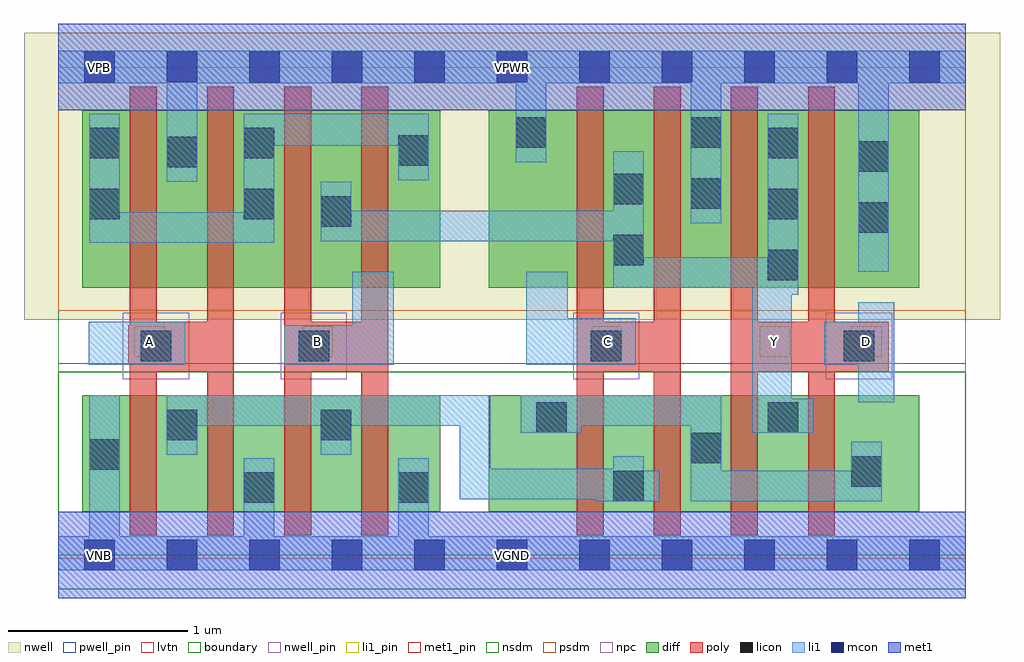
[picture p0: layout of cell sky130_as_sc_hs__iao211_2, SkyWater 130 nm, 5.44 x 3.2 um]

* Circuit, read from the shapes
.subckt sky130_as_sc_hs__iao211_2 A B C D VGND VNB VPB VPWR Y
XM1 n1 A VGND VNB sky130_fd_pr__nfet_01v8_lvt w=0.65 l=0.15 m=2
XM2 n1 B VGND VNB sky130_fd_pr__nfet_01v8_lvt w=0.65 l=0.15 m=2
XM3 n1 C n2 VNB sky130_fd_pr__nfet_01v8_lvt w=0.65 l=0.15 m=2
XM4 Y D n2 VNB sky130_fd_pr__nfet_01v8_lvt w=0.65 l=0.15 m=2
XM5 VPWR A n3 VPB sky130_fd_pr__pfet_01v8 w=0.99 l=0.15 m=2
XM6 Y B n3 VPB sky130_fd_pr__pfet_01v8 w=0.99 l=0.15 m=2
XM7 Y C VPWR VPB sky130_fd_pr__pfet_01v8 w=0.99 l=0.15 m=2
XM8 Y D VPWR VPB sky130_fd_pr__pfet_01v8 w=0.99 l=0.15 m=2
.ends

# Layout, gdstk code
import gdstk
lib = gdstk.Library(unit=1e-6, precision=1e-09)
def R(c, l, rs):  # rectangles x0, y0, x1, y1
    for r in rs: c.add(gdstk.rectangle(r[:2], r[2:], *l))
def A(c, l, x, y, w, h, nx, ny, dx, dy):  # array of equal rectangles
    R(c, l, [(x+i*dx, y+j*dy, x+i*dx+w, y+j*dy+h) for i in range(nx) for j in range(ny)])
nwell_pin = (64, 16)
nwell = (64, 20)
diff = (65, 20)
poly = (66, 20)
licon = (66, 44)
li1_pin = (67, 16)
li1 = (67, 20)
mcon = (67, 44)
met1_pin = (68, 16)
met1 = (68, 20)
nsdm = (93, 44)
psdm = (94, 20)
npc = (95, 20)
pwell_pin = (122, 16)
lvtn = (125, 44)
boundary = (235, 4)

sky130_as_sc_hs__iao211_ = lib.new_cell('sky130_as_sc_hs__iao211_2')
R(sky130_as_sc_hs__iao211_, nwell_pin, [(0.145,2.635,0.315,2.805)])
R(sky130_as_sc_hs__iao211_, nwell, [(-0.19,1.31,5.25,2.91)])
R(sky130_as_sc_hs__iao211_, diff, [(0.135,0.24,2.13,0.89), (2.405,0.24,4.8,0.245), (2.4,0.245,4.8,0.89), (0.135,1.49,2.13,2.48), (2.4,1.49,4.8,2.48)])
A(sky130_as_sc_hs__iao211_, poly, 0.4, 0.11, 0.15, 0.91, 4, 1, 0.43, 0)
A(sky130_as_sc_hs__iao211_, poly, 2.89, 0.11, 0.15, 0.91, 4, 1, 0.43, 0)
A(sky130_as_sc_hs__iao211_, poly, 0.4, 1.3, 0.15, 1.31, 4, 1, 0.43, 0)
A(sky130_as_sc_hs__iao211_, poly, 2.89, 1.3, 0.15, 1.31, 4, 1, 0.43, 0)
R(sky130_as_sc_hs__iao211_, poly, [(0.4,1.02,0.98,1.06), (1.26,1.02,1.84,1.3), (2.89,1.02,3.47,1.3), (3.75,1.02,4.63,1.3), (0.39,1.06,0.98,1.28), (0.4,1.28,0.98,1.3)])
A(sky130_as_sc_hs__iao211_, licon, 3.955, 1.53, 0.17, 0.17, 1, 3, 0, 0.34)
R(sky130_as_sc_hs__iao211_, licon, [(1.035,0.29,1.205,0.46), (1.895,0.29,2.065,0.46), (3.095,0.3,3.265,0.47), (4.42,0.38,4.59,0.55), (0.175,0.475,0.345,0.645), (3.525,0.51,3.695,0.68), (0.605,0.64,0.775,0.81), (1.465,0.64,1.635,0.81), (2.665,0.68,2.835,0.85), (3.955,0.68,4.125,0.85), (0.46,1.08,0.63,1.25), (1.34,1.08,1.51,1.25), (2.97,1.08,3.14,1.25), (4.38,1.08,4.55,1.25), (3.095,1.615,3.265,1.785), (4.46,1.795,4.63,1.965), (1.465,1.83,1.635,2), (0.175,1.87,0.345,2.04), (1.035,1.87,1.205,2.04), (3.525,1.93,3.695,2.1), (3.095,1.955,3.265,2.125), (4.46,2.135,4.63,2.305), (0.605,2.16,0.775,2.33), (1.895,2.17,2.065,2.34), (0.175,2.21,0.345,2.38), (1.035,2.21,1.205,2.38), (2.55,2.27,2.72,2.44), (3.525,2.27,3.695,2.44)])
R(sky130_as_sc_hs__iao211_, li1_pin, [(0.425,1.105,0.595,1.275), (1.36,1.105,1.53,1.275), (2.975,1.105,3.145,1.275), (3.91,1.105,4.08,1.275), (4.42,1.105,4.59,1.275)])
R(sky130_as_sc_hs__iao211_, li1, [(0,-0.085,5.06,0.105), (0.175,0.105,0.345,0.89), (1.035,0.105,1.205,0.54), (1.895,0.105,2.065,0.54), (3,0.3,3.35,0.31), (3.525,0.3,4.59,0.47), (2.24,0.31,3.35,0.47), (2.24,0.47,3.265,0.48), (3.525,0.47,3.695,0.72), (4.42,0.47,4.59,0.63), (2.24,0.48,2.41,0.72), (3.095,0.48,3.265,0.55), (0.605,0.56,0.775,0.72), (1.465,0.56,1.635,0.72), (2.58,0.68,2.915,0.72), (3.87,0.68,4.21,0.87), (0.605,0.72,2.41,0.89), (2.58,0.72,3.695,0.89), (4.46,0.85,4.66,1.06), (3.87,0.87,4.09,1.45), (0.17,1.06,0.71,1.3), (1.26,1.06,1.87,1.28), (2.61,1.06,3.22,1.32), (4.27,1.06,4.66,1.3), (1.64,1.28,1.87,1.58), (4.46,1.3,4.66,1.41), (2.61,1.32,2.84,1.58), (3.87,1.45,4.125,1.49), (3.095,1.49,4.125,1.66), (4.46,1.58,4.63,2.63), (3.095,1.66,3.265,1.75), (3.955,1.66,4.125,2.46), (0.175,1.74,1.205,1.91), (1.465,1.75,3.265,1.92), (3.525,1.85,3.695,2.63), (0.175,1.91,0.345,2.46), (1.035,1.91,1.205,2.28), (1.465,1.92,1.635,2.08), (3.095,1.92,3.265,2.25), (0.605,2.08,0.775,2.63), (1.895,2.09,2.065,2.28), (2.55,2.19,2.72,2.63), (1.035,2.28,2.065,2.46), (0,2.63,5.06,2.81)])
A(sky130_as_sc_hs__iao211_, mcon, 0.145, -0.085, 0.17, 0.17, 11, 2, 0.46, 2.72)
R(sky130_as_sc_hs__iao211_, met1_pin, [(0,-0.24,5.06,0.24), (0.145,-0.085,0.315,0.085), (0,2.48,5.06,2.96), (0.145,2.635,0.315,2.805)])
R(sky130_as_sc_hs__iao211_, met1, [(0,-0.24,5.06,0.24), (0,2.48,5.06,2.96)])
R(sky130_as_sc_hs__iao211_, nsdm, [(0,-0.19,5.06,1.02)])
R(sky130_as_sc_hs__iao211_, psdm, [(0,1.36,5.06,2.91)])
R(sky130_as_sc_hs__iao211_, npc, [(0.36,0.98,0.73,1.35), (1.24,0.98,1.61,1.35), (2.87,0.98,3.24,1.35), (4.28,0.98,4.65,1.35)])
R(sky130_as_sc_hs__iao211_, pwell_pin, [(0.145,-0.085,0.315,0.085)])
R(sky130_as_sc_hs__iao211_, lvtn, [(0,-0.02,5.06,1.07)])
R(sky130_as_sc_hs__iao211_, boundary, [(0,0,5.06,2.72)])
sky130_as_sc_hs__iao211_.add(gdstk.Label('VNB', (0.23,0), layer=64, texttype=59))
sky130_as_sc_hs__iao211_.add(gdstk.Label('VPB', (0.23,2.72), layer=64, texttype=5))
sky130_as_sc_hs__iao211_.add(gdstk.Label('A', (0.51,1.19), layer=67, texttype=5))
sky130_as_sc_hs__iao211_.add(gdstk.Label('B', (1.445,1.19), layer=67, texttype=5))
sky130_as_sc_hs__iao211_.add(gdstk.Label('Y', (3.995,1.19), layer=67, texttype=5))
sky130_as_sc_hs__iao211_.add(gdstk.Label('C', (3.06,1.19), layer=67, texttype=5))
sky130_as_sc_hs__iao211_.add(gdstk.Label('D', (4.505,1.19), layer=67, texttype=5))
sky130_as_sc_hs__iao211_.add(gdstk.Label('VNB', (0.23,0), layer=64, texttype=59))
sky130_as_sc_hs__iao211_.add(gdstk.Label('VPB', (0.23,2.72), layer=64, texttype=5))
sky130_as_sc_hs__iao211_.add(gdstk.Label('VPWR', (2.53,2.72), layer=68, texttype=5))
sky130_as_sc_hs__iao211_.add(gdstk.Label('VPWR', (0.23,2.72), layer=68, texttype=5))
sky130_as_sc_hs__iao211_.add(gdstk.Label('VGND', (2.53,0), layer=68, texttype=5))
sky130_as_sc_hs__iao211_.add(gdstk.Label('VGND', (0.23,0), layer=68, texttype=5))
sky130_as_sc_hs__iao211_.add(gdstk.Label('A', (0.51,1.19), layer=67, texttype=5))
sky130_as_sc_hs__iao211_.add(gdstk.Label('B', (1.445,1.19), layer=67, texttype=5))
sky130_as_sc_hs__iao211_.add(gdstk.Label('C', (3.06,1.19), layer=67, texttype=5))
sky130_as_sc_hs__iao211_.add(gdstk.Label('D', (4.505,1.19), layer=67, texttype=5))
sky130_as_sc_hs__iao211_.add(gdstk.Label('Y', (3.995,1.19), layer=67, texttype=5))

lib.write_gds('sky130_as_sc_hs__iao211_2.gds')
